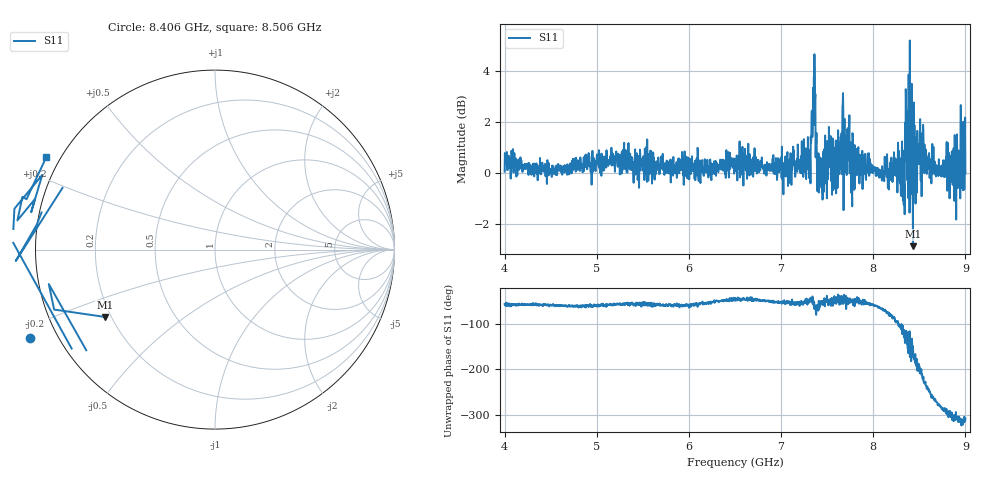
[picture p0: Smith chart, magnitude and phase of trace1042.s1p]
! Created with skrf 1.8.0 (http://scikit-rf.org).
# Hz S RI R 50.0
!freq ReS11 ImS11
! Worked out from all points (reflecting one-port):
!   1601 points, 4 GHz to 9 GHz, reference 50 ohm
!   lowest |S11| = -2.9 dB at 8.431 GHz (marker M1), VSWR 6.14, Z = 8.77 - j13.6 ohm
!   phase of S11 starts at -56 deg and turns -252 deg over the sweep
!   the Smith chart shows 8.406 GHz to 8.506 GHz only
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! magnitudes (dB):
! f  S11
! 4 GHz  0.1
! 4.625 GHz  -0.1
! 5.25 GHz  0.0
! 5.875 GHz  0.2
! 6.5 GHz  0.3
! 7.125 GHz  0.3
! 7.294 GHz  0.4
! 7.328 GHz  1.3
! 7.347 GHz  3.3
! 7.369 GHz  2.9
! 7.4 GHz  0.5
! 7.428 GHz  -0.2
! 7.512 GHz  0.8
! 7.591 GHz  0.5
! 7.669 GHz  2.7
! 7.75 GHz  0.8
! 8.097 GHz  0.3
! 8.253 GHz  0.0
! 8.316 GHz  0.0
! 8.375 GHz  2.3
! 8.431 GHz  -2.9
! 8.45 GHz  0.7
! 8.459 GHz  -1.2
! 8.522 GHz  1.6
! 8.722 GHz  -0.1
! 8.919 GHz  -0.6
! 8.972 GHz  0.7
! 9 GHz  0.0
